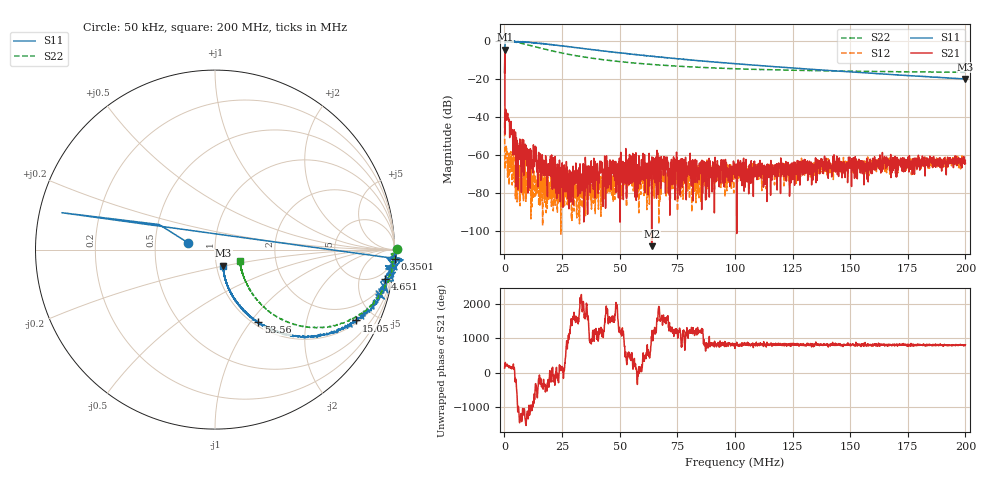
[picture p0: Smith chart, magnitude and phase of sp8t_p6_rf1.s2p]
! 26-Feb-26 12:25:25 PM
! E:\VNA_MEASUREMENTS\SP8T\SP8T_P6_RF1.S2P
! CHANNEL.1
! TR.MEASUREMENT
! CORRECTED.DATA
# GHZ S RI R 50.0
! FREQ.GHZ  S11RE  S11IM  S21RE  S21IM  S12RE  S12IM  S22RE  S22IM
!; PortSelection: Port_12
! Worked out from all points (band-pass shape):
!   2000 points, 50 kHz to 200 MHz, reference 50 ohm
!   highest |S21| = -4.39 dB at 150 kHz (marker M1); lowest = -108.2 dB at 63.87 MHz (marker M2)
!   |S21| within 3 dB of the highest: 125.7 kHz to 156.7 kHz (31.06 kHz wide, 22 % of centre)
!   lowest |S11| = -19.9 dB at 199.9 MHz (marker M3), VSWR 1.22, Z = 53.9 - j9.75 ohm
!   |S11| at or under -10 dB: start of sweep to 140.6 kHz; 81.88 MHz to end of sweep
!   |S22| runs from -16.4 to 0.1 dB; largest |S21 - S12| = 0.6
!   S11 on the Smith chart (normalised r, x): 50 kHz: 0.74, +0.06; 350.1 kHz: -4, -40; 4.651 MHz: 3, -11; 15.05 MHz: 1.12, -3.92; 53.56 MHz: 1.06, -1.10; 200 MHz: 1.08, -0.19
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5e-05  -0.1486 0.0369  -0.0933 0.1121  -0.0052 -0.00491  1.014 0.00553
0.000150025  -0.3112 0.1398  -0.237 -0.5544  -0.000409 -0.000234  1.007 -0.0152
0.000350075  1.004 -0.0498  0.00428 -0.00868  0.00055 -0.00046  0.9975 -0.027
0.001350325  0.9725 -0.0612  -0.0124 -0.00109  -0.000166 -0.000195  0.9936 -0.0911
0.004651151  0.9473 -0.1643  5.16e-05 0.00123  -7.82e-05 0.000225  0.9098 -0.2693
0.006551626  0.9224 -0.2149  0.00072 -0.000237  -2.82e-05 -4.88e-05  0.8347 -0.3435
0.01505375  0.7866 -0.3948  -0.000444 5.82e-05  5.9e-06 -0.00028  0.5155 -0.4306
0.02825705  0.5189 -0.4831  0.000133 9.71e-05  -0.000174 8.42e-05  0.2928 -0.3378
0.03345835  0.4406 -0.4795  0.000262 -0.000114  -0.000205 8.89e-05  0.2533 -0.3008
0.05356338  0.2423 -0.4039  -0.000598 -0.000347  -0.000224 5.06e-05  0.1845 -0.2065
0.06386596  0.1828 -0.3616  -8e-07 -3.8e-06  -0.0001 0.00014  0.1698 -0.1755
0.06676668  0.1678 -0.3524  5.87e-05 6.88e-05  -5.77e-05 0.000109  0.1668 -0.1693
0.07006751  0.1551 -0.3323  0.000386 -0.000136  -0.0001 0.000107  0.1637 -0.1615
0.07206801  0.1492 -0.3269  -0.000629 4e-05  -4.76e-05 0.000349  0.1619 -0.1563
0.07386846  0.1457 -0.3212  8.67e-05 0.000368  2.46e-05 0.00027  0.1598 -0.1529
0.07596898  0.1368 -0.3131  -0.000597 -0.000399  -0.000145 0.000158  0.1599 -0.1499
0.07766941  0.1306 -0.3053  -8e-07 0.000383  3.09e-05 0.000197  0.1586 -0.1464
0.100075  0.0876 -0.242  4.9e-06 0.000248  -0.000179 0.000313  0.1483 -0.1162
0.1333833  0.0591 -0.1713  -0.000197 0.000451  0.000165 0.000426  0.1424 -0.0893
0.1666917  0.049 -0.1244  -0.000195 0.000656  0.000211 0.000532  0.1398 -0.0736
0.1999  0.0463 -0.0894  0.00031 0.000611  0.000241 0.000759  0.1377 -0.0619
0.2  0.0463 -0.0894  1.84e-05 0.000591  0.000156 0.000665  0.1381 -0.0616
